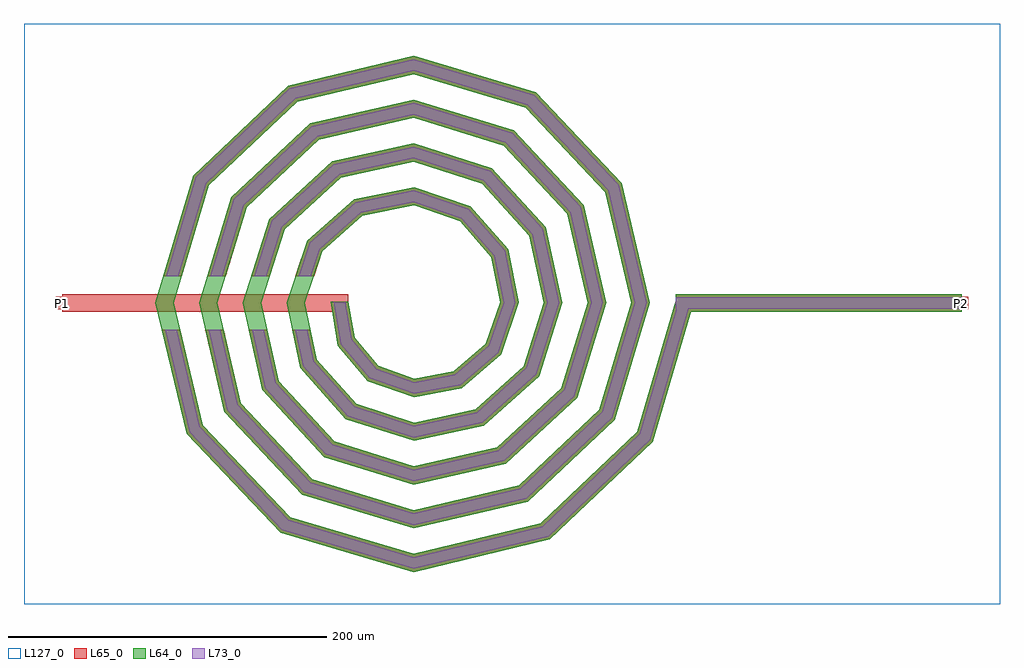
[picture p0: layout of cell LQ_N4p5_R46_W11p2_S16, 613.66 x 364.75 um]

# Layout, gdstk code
import gdstk
lib = gdstk.Library(unit=1e-6, precision=1e-09)
def R(c, l, rs):  # rectangles x0, y0, x1, y1
    for r in rs: c.add(gdstk.rectangle(r[:2], r[2:], *l))
def P(c, l, *ps):  # polygons
    for p in ps: c.add(gdstk.Polygon(p, *l))
L64_0 = (64, 0)
L65_0 = (65, 0)
L73_0 = (73, 0)
L127_0 = (127, 0)

lq_n4p5_r46_w11p2_s16 = lib.new_cell('LQ_N4p5_R46_W11p2_S16')
R(lq_n4p5_r46_w11p2_s16, L64_0, [(164.735,-5.6,344.735,5.6)])
P(lq_n4p5_r46_w11p2_s16, L64_0, [(-37.023,-21.96),(-22.248,-39.502),(0.463,-47.625),(25.343,-43.007),(45.427,-25.734),(54.5,0.411),(48.985,28.739),(29.211,51.359),(0.369,61.376),(-32.143,54.96),(-57.295,32.681),(-68.252,0.335),(-60.931,-35.553),(-36.145,-63.236),(0.306,-75.129),(38.968,-66.9),(69.179,-39.606),(82.006,0.282),(72.867,42.387),(43.063,75.124),(0.262,88.883),(-45.809,78.833),(-81.071,46.518),(-95.761,0.244),(-84.797,-49.233),(-49.971,-87.019),(0.229,-102.638),(52.659,-90.761),(92.968,-53.422),(109.516,0.215),(96.724,56.087),(56.872,98.918),(0.203,116.394),(-59.516,102.686),(-104.869,60.32),(-123.272,0.192),(-108.647,-62.946),(-63.768,-110.82),(0.182,-130.15),(66.376,-114.609),(116.772,-67.215),(137.027,0.174),(120.569,69.808),(70.661,122.724),(0.166,143.905),(-73.24,126.53),(-128.677,74.106),(-150.783,0.158),(-132.49,-76.673),(-77.551,-134.63),(0.152,-157.661),(80.107,-138.449),(140.583,-80.996),(164.964,1.586),(175.706,-1.586),(150.475,-87.047),(85.643,-148.638),(0.152,-169.253),(-83.613,-144.515),(-142.684,-82.199),(-162.375,0.158),(-138.555,80.18),(-78.753,136.731),(0.166,155.496),(76.748,132.594),(130.778,75.307),(148.618,0.174),(126.633,-73.315),(71.861,-124.825),(0.182,-141.74),(-69.884,-120.672),(-118.873,-68.414),(-134.861,0.192),(-114.71,66.454),(-64.965,112.922),(0.203,127.983),(63.024,108.747),(106.97,61.516),(121.104,0.215),(102.784,-59.596),(58.065,-101.02),(0.229,-114.226),(-56.169,-96.82),(-95.07,-54.613),(-107.347,0.244),(-90.855,52.743),(-51.159,89.122),(0.262,100.468),(49.32,84.888),(83.174,47.703),(93.589,0.282),(78.92,-45.899),(44.244,-77.228),(0.306,-86.71),(-42.481,-72.95),(-71.283,-40.781),(-79.83,0.335),(-66.977,39.068),(-37.313,65.341),(0.369,72.951),(35.659,61),(59.402,33.839),(66.07,0.411),(55.018,-32.258),(30.356,-53.468),(0.463,-59.188),(-28.866,-49.03),(-47.538,-26.861),(-52.046,0.96),(-41.012,0.96)])
R(lq_n4p5_r46_w11p2_s16, L65_0, [(-220.929,-5.6,-40.929,5.6), (164.735,-5.6,344.735,5.6), (-224.929,-4,-216.929,4), (340.735,-4,348.735,4)])
P(lq_n4p5_r46_w11p2_s16, L65_0, [(-132.49,-76.673),(-77.551,-134.63),(0.152,-157.661),(80.107,-138.449),(140.584,-80.996),(164.965,1.586),(175.706,-1.586),(150.475,-87.047),(85.643,-148.638),(0.152,-169.253),(-83.613,-144.515),(-142.684,-82.199),(-158.32,-16.8),(-146.805,-16.8)],
  [(-108.647,-62.946),(-63.768,-110.82),(0.182,-130.149),(66.376,-114.609),(116.772,-67.215),(137.027,0.174),(120.569,69.808),(70.661,122.724),(0.166,143.905),(-73.24,126.53),(-128.677,74.106),(-145.735,16.8),(-157.421,16.8),(-138.555,80.18),(-78.753,136.731),(0.166,155.496),(76.748,132.594),(130.778,75.307),(148.618,0.174),(126.633,-73.315),(71.861,-124.825),(0.182,-141.74),(-69.884,-120.672),(-118.873,-68.414),(-130.901,-16.8),(-119.401,-16.8)],
  [(-84.797,-49.233),(-49.971,-87.019),(0.229,-102.638),(52.659,-90.761),(92.968,-53.422),(109.516,0.215),(96.724,56.087),(56.872,98.918),(0.203,116.394),(-59.516,102.686),(-104.869,60.32),(-118.104,16.8),(-129.81,16.8),(-114.71,66.454),(-64.965,112.922),(0.203,127.983),(63.024,108.747),(106.97,61.516),(121.104,0.215),(102.784,-59.596),(58.065,-101.02),(0.229,-114.226),(-56.169,-96.82),(-95.07,-54.613),(-103.533,-16.8),(-92.056,-16.8)],
  [(-60.931,-35.553),(-36.145,-63.236),(0.306,-75.129),(38.968,-66.9),(69.179,-39.606),(82.006,0.282),(72.867,42.387),(43.063,75.124),(0.262,88.883),(-45.809,78.833),(-81.071,46.518),(-90.406,16.8),(-102.146,16.8),(-90.855,52.743),(-51.159,89.122),(0.262,100.468),(49.32,84.888),(83.174,47.703),(93.589,0.282),(78.92,-45.899),(44.244,-77.228),(0.306,-86.71),(-42.481,-72.95),(-71.284,-40.781),(-76.269,-16.8),(-64.829,-16.8)],
  [(-22.248,-39.502),(0.463,-47.625),(25.343,-43.007),(45.427,-25.734),(54.5,0.411),(48.985,28.739),(29.211,51.359),(0.369,61.376),(-32.143,54.96),(-57.296,32.681),(-62.566,16.8),(-74.366,16.8),(-66.977,39.068),(-37.313,65.342),(0.369,72.951),(35.659,61),(59.403,33.839),(66.07,0.411),(55.019,-32.258),(30.356,-53.468),(0.463,-59.189),(-28.866,-49.03),(-47.538,-26.861),(-52.046,0.96),(-41.012,0.96),(-37.023,-21.96)])
R(lq_n4p5_r46_w11p2_s16, L73_0, [(164.735,-3.6,344.735,3.6)])
P(lq_n4p5_r46_w11p2_s16, L73_0, [(-134.31,-77.66),(-78.634,-136.395),(0.098,-159.731),(81.095,-140.269),(142.35,-82.076),(166.883,1.019),(173.788,-1.019),(148.709,-85.966),(84.655,-146.818),(0.098,-167.183),(-82.531,-142.75),(-140.864,-81.212),(-156.264,-16.8),(-148.861,-16.8)],
  [(-110.474,-63.922),(-64.86,-112.579),(0.117,-132.219),(67.356,-116.433),(118.533,-68.304),(139.097,0.112),(122.392,70.79),(71.748,124.487),(0.107,145.975),(-74.225,128.351),(-130.441,75.191),(-147.822,16.8),(-155.334,16.8),(-136.791,79.096),(-77.769,134.909),(0.107,153.427),(75.661,130.832),(128.955,74.325),(146.548,0.112),(124.872,-72.226),(70.882,-123.001),(0.117,-139.67),(-68.792,-118.913),(-117.047,-67.437),(-128.848,-16.8),(-121.455,-16.8)],
  [(-86.632,-50.194),(-51.077,-88.769),(0.147,-104.708),(53.625,-92.593),(94.721,-54.524),(111.585,0.138),(98.553,57.056),(57.97,100.673),(0.13,118.463),(-60.489,104.514),(-106.626,61.415),(-120.194,16.8),(-127.72,16.8),(-112.953,65.358),(-63.992,111.094),(0.13,125.913),(61.925,106.992),(105.141,60.547),(119.035,0.138),(101.031,-58.493),(57.1,-99.188),(0.147,-112.157),(-55.062,-95.07),(-93.236,-53.653),(-101.483,-16.8),(-94.105,-16.8)],
  [(-62.78,-36.487),(-37.277,-64.97),(0.197,-77.197),(39.91,-68.744),(70.918,-40.73),(84.074,0.182),(74.708,43.337),(44.18,76.868),(0.168,90.952),(-46.765,80.67),(-82.818,47.63),(-92.503,16.8),(-100.05,16.8),(-89.108,51.632),(-50.204,87.284),(0.168,98.399),(48.203,83.145),(81.333,46.754),(91.521,0.182),(77.18,-44.775),(43.302,-75.384),(0.197,-84.642),(-41.35,-71.215),(-69.435,-39.847),(-74.226,-16.8),(-66.872,-16.8)],
  [(-23.43,-41.204),(0.298,-49.69),(26.238,-44.875),(47.14,-26.899),(56.566,0.264),(50.845,29.649),(30.363,53.08),(0.237,63.443),(-33.066,56.813),(-59.024,33.821),(-64.673,16.8),(-72.259,16.8),(-65.248,37.927),(-36.39,63.488),(0.237,70.884),(34.508,59.278),(57.542,32.928),(64.004,0.264),(53.306,-31.093),(29.461,-51.6),(0.298,-57.124),(-27.685,-47.329),(-45.661,-25.986),(-50.075,0.617),(-42.982,0.617),(-38.901,-22.835)])
R(lq_n4p5_r46_w11p2_s16, L127_0, [(-244.929,-189.253,368.735,175.496)])
lq_n4p5_r46_w11p2_s16.add(gdstk.Label('P2', (344.735,0), layer=65, texttype=0))
lq_n4p5_r46_w11p2_s16.add(gdstk.Label('P1', (-220.929,0), layer=65, texttype=0))
lq_n4p5_r46_w11p2_s16.add(gdstk.Label('P2', (348.735,0), layer=145, texttype=0))
lq_n4p5_r46_w11p2_s16.add(gdstk.Label('P1', (-224.929,0), layer=145, texttype=0))

lib.write_gds('LQ_N4p5_R46_W11p2_S16.gds')
